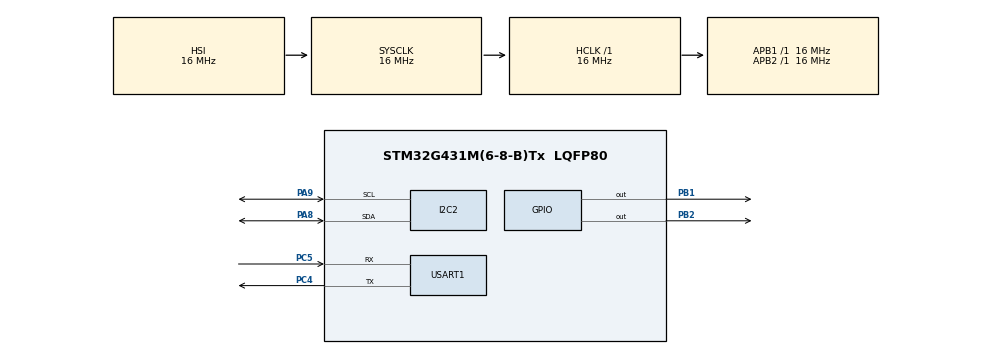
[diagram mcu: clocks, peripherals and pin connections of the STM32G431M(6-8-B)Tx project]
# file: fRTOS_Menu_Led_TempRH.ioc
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FREERTOS.Tasks01=defaultTask,0,128,StartDefaultTask,Default,NULL,Dynamic,NULL,NULL
FREERTOS.configTOTAL_HEAP_SIZE=6144
FREERTOS.configUSE_NEWLIB_REENTRANT=1
FREERTOS.configUSE_TIMERS=1
I2C2.Timing=0x00503D58
Mcu.Family=STM32G4
Mcu.Name=STM32G431M(6-8-B)Tx
Mcu.Package=LQFP80
NVIC.PriorityGroup=NVIC_PRIORITYGROUP_4
NVIC.TIM1_UP_TIM16_IRQn=true\:15\:0\:false\:false\:true\:false\:false\:true\:true
NVIC.TimeBase=TIM1_UP_TIM16_IRQn
NVIC.TimeBaseIP=TIM1
NVIC.USART1_IRQn=true\:6\:0\:true\:false\:true\:true\:true\:true\:true
PA13.Mode=Serial_Wire
PA13.Signal=SYS_JTMS-SWDIO
PA14.Mode=Serial_Wire
PA14.Signal=SYS_JTCK-SWCLK
PA8.Mode=I2C
PA8.Signal=I2C2_SDA
PA9.Mode=I2C
PA9.Signal=I2C2_SCL
PB1.PinState=GPIO_PIN_SET
PB1.Signal=GPIO_Output
PB2.PinState=GPIO_PIN_SET
PB2.Signal=GPIO_Output
PC4.Mode=Asynchronous
PC4.Signal=USART1_TX
PC5.Mode=Asynchronous
PC5.Signal=USART1_RX
ProjectManager.HeapSize=0x200
ProjectManager.StackSize=0x400
ProjectManager.TargetToolchain=STM32CubeIDE
RCC.AHBFreq_Value=16000000
RCC.APB1Freq_Value=16000000
RCC.APB1TimFreq_Value=16000000
RCC.APB2Freq_Value=16000000
RCC.APB2TimFreq_Value=16000000
RCC.CortexFreq_Value=16000000
RCC.EXTERNAL_CLOCK_VALUE=12288000
RCC.HCLKFreq_Value=16000000
RCC.HSE_VALUE=8000000
RCC.HSI48_VALUE=48000000
RCC.HSI_VALUE=16000000
RCC.LSE_VALUE=32768
RCC.SYSCLKFreq_VALUE=16000000
RCC.USBFreq_Value=64000000
RCC.VCOOutputFreq_Value=128000000
USART1.VirtualMode-Asynchronous=VM_ASYNC
VP_FREERTOS_VS_CMSIS_V1.Mode=CMSIS_V1
VP_SYS_VS_DBSignals.Mode=DisableDeadBatterySignals
VP_SYS_VS_tim1.Mode=TIM1
board=custom

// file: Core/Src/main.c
/* USER CODE BEGIN Header */
/**
  ******************************************************************************
  * @file           : main.c
  * @brief          : Main program body
  ******************************************************************************
  * @attention
  *
  * Copyright (c) 2025 STMicroelectronics.
  * All rights reserved.
  *
  * This software is licensed under terms that can be found in the LICENSE file
  * in the root directory of this software component.
  * If no LICENSE file comes with this software, it is provided AS-IS.
  *
  ******************************************************************************
  */
/* USER CODE END Header */
#include "main.h"
#include "cmsis_os.h"

/* USER CODE BEGIN Includes */
#include "FreeRTOS.h"
#include "task.h"
#include "queue.h"
#include "timers.h"
#include <string.h>
#include <stdio.h>
/* USER CODE END Includes */

/* USER CODE BEGIN PTD */

typedef enum{
	sMainMenu = 0,
	sLedEffect,
	sT_RhMenu,
}state_t;

typedef struct{
	uint8_t payload[10];
	uint32_t len;
}command_t;

/* USER CODE END PTD */

/* USER CODE BEGIN PM */
#define SHT3_ADDRESS_WRITE  (0x70 << 1) // 1110 0000
#define SHT3_ADDRESS_READ 	(0x70 << 1) | 1 // 1110 0001
/* USER CODE END PM */

I2C_HandleTypeDef hi2c2;

UART_HandleTypeDef huart1;

osThreadId defaultTaskHandle;
/* USER CODE BEGIN PV */
xTaskHandle handle_menu_task;
xTaskHandle handle_led_task;
xTaskHandle handle_cmd_task;
xTaskHandle handle_print_task;
xTaskHandle handle_tempRH_task;

QueueHandle_t q_data;
QueueHandle_t q_print;

TimerHandle_t handle_led_timer[3];
uint8_t printBuffer[32];
volatile uint8_t user_data;
state_t curr_state = sMainMenu;
const char *msg_inv = "/**Invalid option **/\n";

/* USER CODE END PV */

void SystemClock_Config(void);
static void MX_GPIO_Init(void);
static void MX_USART1_UART_Init(void);
static void MX_I2C2_Init(void);
void StartDefaultTask(void const * argument);

/* USER CODE BEGIN PFP */
void handler_menu_task (void * param);
void handler_led_task (void * param);
void handler_cmd_task (void * param);
void handler_print_task(void * param);
void handler_TempRH_task(void * param);
void led_effect_stop (void);
void led_effect (int n);
void led_effect_callback (TimerHandle_t xTimer);
void humidity ();
void temperature ();
/* USER CODE END PFP */

/* USER CODE BEGIN 0 */
void HAL_UART_RxCpltCallback(UART_HandleTypeDef *huart)
{
	uint8_t temp;
	if (huart->Instance == USART1){
		if(! xQueueIsQueueFullFromISR(q_data)){
			xQueueSendFromISR(q_data, (void *)&user_data, NULL);
		}
		else {
			if (user_data == '\n' || user_data == '\r'){
				xQueueReceiveFromISR(q_data, (void *)&temp, NULL);
				xQueueSendFromISR(q_data, (void*)&user_data, NULL);
			}
		}

		HAL_UART_Transmit(&huart1, (uint8_t*)&user_data, 1, 10);

		if(user_data == '\r' || user_data == '\n'){
			xTaskNotifyFromISR(handle_cmd_task, 0, eNoAction, NULL);
		}

		HAL_UART_Receive_IT(&huart1, (uint8_t*)&user_data, 1);
		HAL_GPIO_WritePin(GPIOB, GPIO_PIN_1, 1);
	}
}

/* USER CODE END 0 */

int main(void)
{

  /* MCU Configuration--------------------------------------------------------*/

  /* Reset of all peripherals, Initializes the Flash interface and the Systick. */
  HAL_Init();

  /* Configure the system clock */
  SystemClock_Config();

  /* Initialize all configured peripherals */
  MX_GPIO_Init();
  MX_USART1_UART_Init();
  MX_I2C2_Init();
  /* USER CODE BEGIN 2 */
  BaseType_t status;

  status = xTaskCreate(handler_menu_task, "menu_task", 256, NULL, 2, &handle_menu_task);
  configASSERT(status == pdPASS);

  status = xTaskCreate(handler_led_task, "led_task", 256, NULL, 2, &handle_led_task);
  configASSERT(status == pdPASS);

  status = xTaskCreate(handler_cmd_task, "cmd_task", 256, NULL, 2, &handle_cmd_task);
  configASSERT(status == pdPASS);

  status = xTaskCreate(handler_TempRH_task, "tempRH_task", 256, NULL, 2, &handle_tempRH_task);
  configASSERT(status == pdPASS);

  status = xTaskCreate (handler_print_task, "print_task", 256, NULL, 2, &handle_print_task);
  configASSERT(status == pdPASS);

  q_data = xQueueCreate(10, sizeof(char));
  configASSERT( q_data != NULL);

  q_print =xQueueCreate(10, sizeof(char *));
  configASSERT(q_print != NULL);

  for(int i = 0; i < 3; i++){
	  handle_led_timer[i] = xTimerCreate("led_timer", pdMS_TO_TICKS(500), pdTRUE, (void*)(i+1), led_effect_callback);
   }

  HAL_GPIO_WritePin(GPIOB, GPIO_PIN_1, 0);
  HAL_UART_Transmit(&huart1, (uint8_t*)"Enter a number 0-3\r\n", strlen("Enter a number 0-3\r\n"), 100);
  HAL_UART_Receive_IT(&huart1, (uint8_t*)&user_data, 1);

  vTaskStartScheduler();
  /* USER CODE END 2 */

  /* Create the thread(s) */
  /* definition and creation of defaultTask */

  /* Start scheduler */

  /* We should never get here as control is now taken by the scheduler */

  /* Infinite loop */
  while (1)
  {

  }
}

void SystemClock_Config(void)
{
  RCC_OscInitTypeDef RCC_OscInitStruct = {0};
  RCC_ClkInitTypeDef RCC_ClkInitStruct = {0};

  /** Configure the main internal regulator output voltage
  */
  HAL_PWREx_ControlVoltageScaling(PWR_REGULATOR_VOLTAGE_SCALE1);

  /** Initializes the RCC Oscillators according to the specified parameters
  * in the RCC_OscInitTypeDef structure.
  */
  RCC_OscInitStruct.OscillatorType = RCC_OSCILLATORTYPE_HSI;
  RCC_OscInitStruct.HSIState = RCC_HSI_ON;
  RCC_OscInitStruct.HSICalibrationValue = RCC_HSICALIBRATION_DEFAULT;
  RCC_OscInitStruct.PLL.PLLState = RCC_PLL_NONE;
  if (HAL_RCC_OscConfig(&RCC_OscInitStruct) != HAL_OK)
  {
    Error_Handler();
  }

  /** Initializes the CPU, AHB and APB buses clocks
  */
  RCC_ClkInitStruct.ClockType = RCC_CLOCKTYPE_HCLK|RCC_CLOCKTYPE_SYSCLK
                              |RCC_CLOCKTYPE_PCLK1|RCC_CLOCKTYPE_PCLK2;
  RCC_ClkInitStruct.SYSCLKSource = RCC_SYSCLKSOURCE_HSI;
  RCC_ClkInitStruct.AHBCLKDivider = RCC_SYSCLK_DIV1;
  RCC_ClkInitStruct.APB1CLKDivider = RCC_HCLK_DIV1;
  RCC_ClkInitStruct.APB2CLKDivider = RCC_HCLK_DIV1;

  if (HAL_RCC_ClockConfig(&RCC_ClkInitStruct, FLASH_LATENCY_0) != HAL_OK)
  {
    Error_Handler();
  }
}

static void MX_I2C2_Init(void)
{

  hi2c2.Instance = I2C2;
  hi2c2.Init.Timing = 0x00503D58;
  hi2c2.Init.OwnAddress1 = 0;
  hi2c2.Init.AddressingMode = I2C_ADDRESSINGMODE_7BIT;
  hi2c2.Init.DualAddressMode = I2C_DUALADDRESS_DISABLE;
  hi2c2.Init.OwnAddress2 = 0;
  hi2c2.Init.OwnAddress2Masks = I2C_OA2_NOMASK;
  hi2c2.Init.GeneralCallMode = I2C_GENERALCALL_DISABLE;
  hi2c2.Init.NoStretchMode = I2C_NOSTRETCH_DISABLE;
  if (HAL_I2C_Init(&hi2c2) != HAL_OK)
  {
    Error_Handler();
  }

  /** Configure Analogue filter
  */
  if (HAL_I2CEx_ConfigAnalogFilter(&hi2c2, I2C_ANALOGFILTER_ENABLE) != HAL_OK)
  {
    Error_Handler();
  }

  /** Configure Digital filter
  */
  if (HAL_I2CEx_ConfigDigitalFilter(&hi2c2, 0) != HAL_OK)
  {
    Error_Handler();
  }

}

static void MX_USART1_UART_Init(void)
{

  huart1.Instance = USART1;
  huart1.Init.BaudRate = 115200;
  huart1.Init.WordLength = UART_WORDLENGTH_8B;
  huart1.Init.StopBits = UART_STOPBITS_1;
  huart1.Init.Parity = UART_PARITY_NONE;
  huart1.Init.Mode = UART_MODE_TX_RX;
  huart1.Init.HwFlowCtl = UART_HWCONTROL_NONE;
  huart1.Init.OverSampling = UART_OVERSAMPLING_16;
  huart1.Init.OneBitSampling = UART_ONE_BIT_SAMPLE_DISABLE;
  huart1.Init.ClockPrescaler = UART_PRESCALER_DIV1;
  huart1.AdvancedInit.AdvFeatureInit = UART_ADVFEATURE_NO_INIT;
  if (HAL_UART_Init(&huart1) != HAL_OK)
  {
    Error_Handler();
  }
  if (HAL_UARTEx_SetTxFifoThreshold(&huart1, UART_TXFIFO_THRESHOLD_1_8) != HAL_OK)
  {
    Error_Handler();
  }
  if (HAL_UARTEx_SetRxFifoThreshold(&huart1, UART_RXFIFO_THRESHOLD_1_8) != HAL_OK)
  {
    Error_Handler();
  }
  if (HAL_UARTEx_DisableFifoMode(&huart1) != HAL_OK)
  {
    Error_Handler();
  }

}

static void MX_GPIO_Init(void)
{
  GPIO_InitTypeDef GPIO_InitStruct = {0};

  /* GPIO Ports Clock Enable */
  __HAL_RCC_GPIOC_CLK_ENABLE();
  __HAL_RCC_GPIOB_CLK_ENABLE();
  __HAL_RCC_GPIOA_CLK_ENABLE();

  /*Configure GPIO pin Output Level */
  HAL_GPIO_WritePin(GPIOB, GPIO_PIN_1|GPIO_PIN_2, GPIO_PIN_SET);

  /*Configure GPIO pins : PB1 PB2 */
  GPIO_InitStruct.Pin = GPIO_PIN_1|GPIO_PIN_2;
  GPIO_InitStruct.Mode = GPIO_MODE_OUTPUT_PP;
  GPIO_InitStruct.Pull = GPIO_NOPULL;
  GPIO_InitStruct.Speed = GPIO_SPEED_FREQ_LOW;
  HAL_GPIO_Init(GPIOB, &GPIO_InitStruct);

}

/* USER CODE BEGIN 4 */

void handler_cmd_task (void * param)
{
	BaseType_t ret;
	command_t cmd;
	BaseType_t status;
	uint8_t item;

	HAL_GPIO_WritePin(GPIOB, GPIO_PIN_1, 0);

	while(1){
		ret = xTaskNotifyWait(0, 0, NULL, portMAX_DELAY);
		if(ret == pdTRUE){
			status = uxQueueMessagesWaiting(q_data);
				if(status){
					uint8_t i = 0;
					do{
						status = xQueueReceive(q_data, &item, 0);
						if(status == pdTRUE){
							if (i < sizeof(cmd.payload) - 1)
								cmd.payload[i++] = item;
						}
					}while(item != '\r' && item != '\n');

					cmd.payload[i-1] = '\0';
					cmd.len = i-1;

					HAL_GPIO_WritePin(GPIOB, GPIO_PIN_1, 1);

					switch (curr_state){

					case sMainMenu:
						xTaskNotify(handle_menu_task, (uint32_t)&cmd, eSetValueWithOverwrite);
						break;
					case sLedEffect:
						xTaskNotify(handle_led_task, (uint32_t)&cmd, eSetValueWithOverwrite);
						break;
					case sT_RhMenu:
						xTaskNotify(handle_tempRH_task, (uint32_t)&cmd, eSetValueWithOverwrite);
						break;
					default:
						HAL_UART_Transmit(&huart1, (uint8_t*)"Invalid Input\r\n", strlen("Invalid Input\r\n"), 100);
						break;
					}
				}
		}
	}
}

void handler_menu_task(void * param){
	const char * msg_menu = "***************\r\n"
							"|    Menu     |\r\n"
							"***************\r\n"
							"Led Effect  ->0\r\n"
							"Temp_Humid  ->1\r\n"
							"Exit        ->2\r\n"
							"Enter your choice:";
	uint32_t cmd_addr;
	command_t *cmd;
	int option;

	while (1){
		xQueueSend (q_print, &msg_menu, portMAX_DELAY);

		xTaskNotifyWait(0, 0, &cmd_addr, portMAX_DELAY);
		cmd = (command_t *)cmd_addr;

		if(cmd->len == 1){
			option = cmd->payload[0] - '0';

			switch (option){
			case 0:
				curr_state = sLedEffect;
				xTaskNotify(handle_led_task, 0, eNoAction);
				break;
			case 1:
				curr_state = sT_RhMenu;
				xTaskNotify(handle_tempRH_task, 0, eNoAction);
				break;
			case 2:
				break;
			default:
				xQueueSend(q_print, &msg_inv, portMAX_DELAY);
				continue;
			}
		}else{
			xQueueSend(q_print, &msg_inv, portMAX_DELAY);
			continue;
		}
	}
		xTaskNotifyWait(0, 0, NULL, portMAX_DELAY);
}

void handler_led_task(void * param)
{
	uint32_t cmd_addr;
	command_t *cmd;

	const char * msg_led = "*************\r\n"
						   "  Led Effect \r\n"
							"*************\r\n"
							"none, p1, p2, p3\r\n"
							"Enter your choice:";

	while(1){
		xTaskNotifyWait(0, 0, NULL, portMAX_DELAY);
		xQueueSend(q_print, &msg_led, portMAX_DELAY);

		xTaskNotifyWait(0,  0, &cmd_addr, portMAX_DELAY);
		cmd = (command_t *)(cmd_addr);

		if(cmd->len <= 4){
			if(!strcmp((char*)cmd->payload, "none")){
				led_effect_stop();
			}
			else if(! strcmp((char*)cmd->payload, "p1")){
				led_effect(1);
			}
			else if (! strcmp((char*)cmd->payload, "p2")){
				led_effect(2);
			}
			else if (!strcmp((char*)cmd->payload, "p3")){
				led_effect(3);
			}
			else{
				xQueueSend(q_print, &msg_inv, portMAX_DELAY);
			}
		}
		else {
			xQueueSend(q_print, &msg_inv, portMAX_DELAY);
		}
		curr_state = sMainMenu;
		xTaskNotify(handle_menu_task, 0, eNoAction);
	}
}

void led_effect_stop(void){

	for(int i = 0; i < 3; i++){
		xTimerStop(handle_led_timer[i], portMAX_DELAY);
		HAL_GPIO_WritePin(GPIOB, GPIO_PIN_1, 1);
		HAL_GPIO_WritePin(GPIOB, GPIO_PIN_2, 1);
	}
}

void led_effect (int n)
{
	led_effect_stop();
	xTimerStart(handle_led_timer[n-1], portMAX_DELAY);
}

void led_effect_callback(TimerHandle_t xTimer){

	int id;

	id = (uint32_t)pvTimerGetTimerID(xTimer);

	switch(id){

	case 1:
		HAL_GPIO_WritePin(GPIOB, GPIO_PIN_2, 1);
		HAL_GPIO_TogglePin(GPIOB, GPIO_PIN_1);
		break;

	case 2:
		HAL_GPIO_WritePin(GPIOB, GPIO_PIN_1, 1);
		HAL_GPIO_TogglePin(GPIOB, GPIO_PIN_2);
		break;

	case 3:
		static int flag = 1;
		flag ^= 1;
		if (flag){
			HAL_GPIO_WritePin(GPIOB, GPIO_PIN_1, 0);
			HAL_GPIO_WritePin(GPIOB, GPIO_PIN_2, 0);
		}
		else {
			HAL_GPIO_WritePin(GPIOB, GPIO_PIN_1, 1);
			HAL_GPIO_WritePin(GPIOB, GPIO_PIN_2, 1);
		}

		break;
	}
}

void handler_TempRH_task(void * param){

	uint32_t cmd_addr;
	command_t *cmd;
	int option;

	const char * msg_TempRH = "**************\r\n"
							  "|   TempRH   |\r\n"
							  "**************\r\n"
							  "Temperature->0\r\n"
							  "rHumidity  ->1\r\n"
							  "Enter your choice:";

	while(1){
		xTaskNotifyWait(0,  0, NULL, portMAX_DELAY);
		xQueueSend(q_print, &msg_TempRH, portMAX_DELAY);

		xTaskNotifyWait(0, 0, &cmd_addr, portMAX_DELAY);
		cmd = (command_t *)cmd_addr;

		if (cmd->len == 1){
			option = cmd->payload[0] - '0';
		}
		switch (option){
		case 0: temperature();
		break;
		case 1: humidity();
		break;
		default : xQueueSend(q_print, &msg_inv, portMAX_DELAY);
		break;
		}
		curr_state = sMainMenu;
		xTaskNotify(handle_menu_task, 0, eNoAction);
	}
	xTaskNotifyWait(0,  0, NULL, portMAX_DELAY);

}

void temperature (){
	uint8_t rxBuff[2];
	uint16_t rawTemp = 0;
	uint8_t regTemp[2];
	uint16_t Temp = 0;
	char *p = (char *)printBuffer;

		if(HAL_OK == HAL_I2C_IsDeviceReady(&hi2c2, SHT3_ADDRESS_WRITE, 1, 100)){
			HAL_UART_Transmit(&huart1, (uint8_t *) "Device ready \r\n", sizeof("Device ready \r\n"), 100);
			regTemp[0] = 0x7C;  //8-bit MSB Address of Relative Humidity in SHT3
			regTemp[1] = 0xA2;  //8-bit LSB Address of Relative Humidity in SHT3
		}
		//Transmitting address of Temperature sensor through I2C Master Tx
		HAL_I2C_Master_Transmit(&hi2c2, SHT3_ADDRESS_WRITE, regTemp, 2, 100);
		vTaskDelay(pdMS_TO_TICKS(100));

		//Receiving Raw Temperature data from SHT3 through I2C Master Rx
		HAL_I2C_Master_Receive(&hi2c2, SHT3_ADDRESS_READ, rxBuff, 2, 100);

		//Restructuring the Big Endian data to Little Endian
		rawTemp = ((rxBuff[0]<<8) | (rxBuff[1]));

		//Clearing PrintBuffer before UART Tx
		memset(printBuffer, 0, sizeof(printBuffer));

		//Storing Raw Temperature value and Tx through UART
		sprintf((char *)printBuffer, "Raw Temp : %u\r\n", rawTemp);

		xQueueSend(q_print, &p, portMAX_DELAY);

		//Calculating the Temperature from Raw data
		Temp = (-45) + ((175 * rawTemp) / 65535);

		vTaskDelay(pdMS_TO_TICKS(100));

		memset(printBuffer,0,sizeof(printBuffer)); //clearing printbuffer

		//Storing and Tx Temperature through UART
		sprintf((char *)printBuffer,"Temperature : %u Celcius\r\n", Temp);
		xQueueSend(q_print, &p, portMAX_DELAY);

		vTaskDelay(pdMS_TO_TICKS(1000));
}

void humidity (){
	uint8_t rxBuff[2];
	uint16_t rawHumd = 0;
	uint8_t regRH[2];
	uint16_t rHumidity = 0;
	char *p = (char *)printBuffer;

		if (HAL_OK == HAL_I2C_IsDeviceReady(&hi2c2, SHT3_ADDRESS_WRITE, 1, 100)){
			HAL_UART_Transmit(&huart1, (uint8_t *) "Device status ok \r\n", sizeof("Device status ok \r\n"), 100);
			regRH[0] = 0x5C;
			regRH[1] = 0x24;
		}
		HAL_I2C_Master_Transmit(&hi2c2, SHT3_ADDRESS_WRITE, regRH, 2, 100);
		vTaskDelay(pdMS_TO_TICKS(100));

		HAL_I2C_Master_Receive(&hi2c2, SHT3_ADDRESS_READ, rxBuff, 2, 100);
		rawHumd = ((rxBuff[0] << 8 ) | (rxBuff[1]));

		//Calculating the Relative Humidity from Raw data
		rHumidity = (100 * rawHumd) / 65535;

		memset(printBuffer, 0, sizeof(printBuffer));

		sprintf((char *)printBuffer, "Relative Humidity : %u%% RH \r\n", rHumidity);
		xQueueSend(q_print, &p, portMAX_DELAY);

		vTaskDelay(pdMS_TO_TICKS(1000));
}

void handler_print_task(void * param){
	uint32_t *msg;

	// Debug heap usage
	size_t free_heap = xPortGetFreeHeapSize();
	char heap_msg[32];
	snprintf(heap_msg, sizeof(heap_msg), "\r\nFree heap: %u bytes\r\n", free_heap);
	HAL_UART_Transmit(&huart1, (uint8_t*)heap_msg, strlen(heap_msg), 500);

	while(1){
		xQueueReceive(q_print, &msg, portMAX_DELAY);
		HAL_UART_Transmit(&huart1, (uint8_t*)msg, strlen((char*)msg), 500);

	}
}

void vApplicationStackOverflowHook(TaskHandle_t pxTask, char *pcTaskName) {
    (void)pxTask;
    HAL_UART_Transmit(&huart1, (uint8_t*)"Stack overflow in ", 17, 100);
    HAL_UART_Transmit(&huart1, (uint8_t*)pcTaskName, strlen(pcTaskName), 100);
    HAL_UART_Transmit(&huart1, (uint8_t*)"\r\n", 2, 100);
    taskDISABLE_INTERRUPTS();
    for(;;);
}

void vApplicationMallocFailedHook(void) {
    HAL_UART_Transmit(&huart1, (uint8_t*)"Heap allocation failed\r\n", 23, 100);
    taskDISABLE_INTERRUPTS();
    for(;;);
}

/* USER CODE END 4 */

void StartDefaultTask(void const * argument)
{
  for(;;)
  {
    osDelay(1);
  }
}

void HAL_TIM_PeriodElapsedCallback(TIM_HandleTypeDef *htim)
{
  if (htim->Instance == TIM1)
  {
    HAL_IncTick();
  }
}

void Error_Handler(void)
{
  __disable_irq();
  while (1)
  {
  }
}
